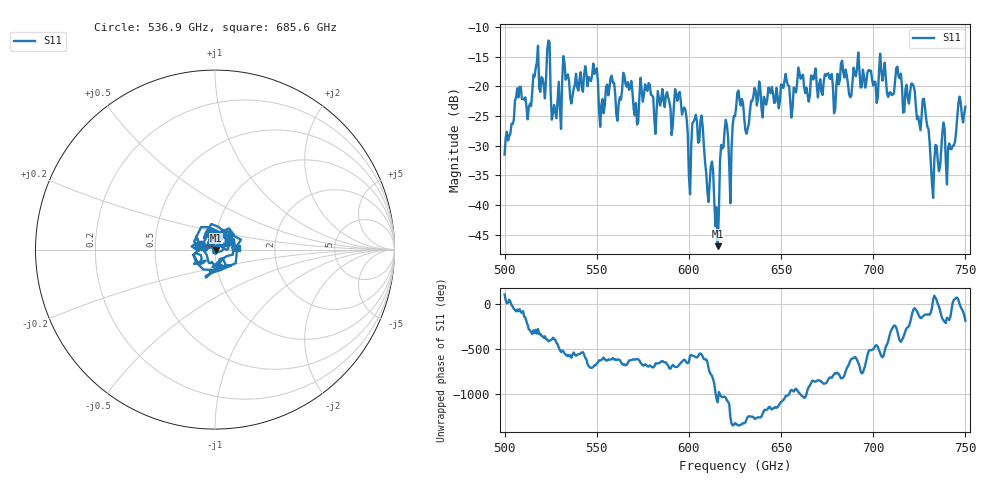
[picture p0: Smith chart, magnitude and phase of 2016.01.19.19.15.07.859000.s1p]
!Created with skrf (http://scikit-rf.org).
# GHz S RI R 50.0
!freq ReS11 ImS11
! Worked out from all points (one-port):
!   401 points, 500 GHz to 750 GHz, reference 50 ohm
!   lowest |S11| = -46.9 dB at 615.6 GHz (marker M1), VSWR 1.01, Z = 50.4 - j0.138 ohm
!   |S11| at or under -10 dB: start of sweep to end of sweep
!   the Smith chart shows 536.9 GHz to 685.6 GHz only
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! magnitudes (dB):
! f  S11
! 500 GHz  -31.5
! 507.5 GHz  -21.9
! 513.1 GHz  -23.6
! 516.9 GHz  -16.9
! 520.6 GHz  -18.7
! 523.8 GHz  -12.3
! 526.9 GHz  -23.2
! 531.2 GHz  -18.9
! 548.8 GHz  -17.9
! 552.5 GHz  -23.1
! 558.1 GHz  -18.2
! 562.5 GHz  -21.9
! 593.8 GHz  -22.4
! 600 GHz  -35.1
! 606.9 GHz  -24.9
! 610 GHz  -37.6
! 615.6 GHz  -46.9
! 618.8 GHz  -30.2
! 622.5 GHz  -39.7
! 625 GHz  -25.1
! 656.2 GHz  -23.5
! 660.6 GHz  -18.7
! 687.5 GHz  -21.9
! 705 GHz  -19.1
! 718.8 GHz  -22.0
! 728.1 GHz  -23.7
! 732.5 GHz  -38.8
! 750 GHz  -23.4
